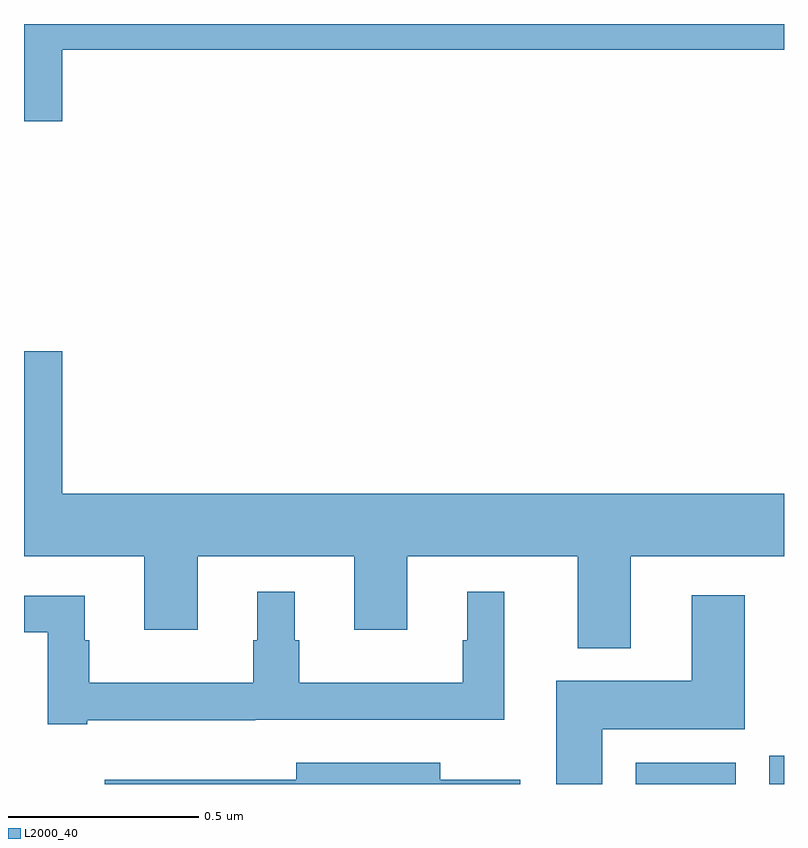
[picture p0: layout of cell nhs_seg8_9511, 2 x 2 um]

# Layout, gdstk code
import gdstk
lib = gdstk.Library(unit=1e-6, precision=1e-09)
def R(c, l, rs):  # rectangles x0, y0, x1, y1
    for r in rs: c.add(gdstk.rectangle(r[:2], r[2:], *l))
def P(c, l, *ps):  # polygons
    for p in ps: c.add(gdstk.Polygon(p, *l))
L2000_40 = (2000, 40)

nhs_seg8_9511 = lib.new_cell('nhs_seg8_9511')
R(nhs_seg8_9511, L2000_40, [(238.61,1115.9,238.873,1115.956), (238.961,1115.9,239,1115.974)])
P(nhs_seg8_9511, L2000_40, [(237.1,1117.832),(239,1117.832),(239,1117.9),(237,1117.9),(237,1117.644),(237.1,1117.644)],
  [(238.597,1116.5),(239,1116.5),(239,1116.664),(237.1,1116.664),(237.1,1117.039),(237,1117.039),(237,1116.5),(237.317,1116.5),(237.317,1116.306),(237.457,1116.306),(237.457,1116.5),(237.869,1116.5),(237.869,1116.306),(238.009,1116.306),(238.009,1116.5),(238.457,1116.5),(238.457,1116.257),(238.597,1116.257)],
  [(237.166,1116.068),(237.608,1116.068),(237.608,1116.069),(238.264,1116.069),(238.264,1116.406),(238.166,1116.406),(238.166,1116.278),(238.155,1116.278),(238.155,1116.166),(237.724,1116.166),(237.724,1116.278),(237.712,1116.278),(237.712,1116.406),(237.614,1116.406),(237.614,1116.278),(237.603,1116.278),(237.603,1116.166),(237.172,1116.166),(237.172,1116.278),(237.16,1116.278),(237.16,1116.396),(237,1116.396),(237,1116.3),(237.063,1116.3),(237.063,1116.057),(237.166,1116.057)],
  [(238.522,1116.044),(238.897,1116.044),(238.897,1116.397),(238.757,1116.397),(238.757,1116.172),(238.4,1116.172),(238.4,1115.9),(238.522,1115.9)],
  [(238.306,1115.911),(238.096,1115.911),(238.096,1115.956),(237.716,1115.956),(237.716,1115.911),(237.213,1115.911),(237.213,1115.9),(238.306,1115.9)])

lib.write_gds('nhs_seg8_9511.gds')
